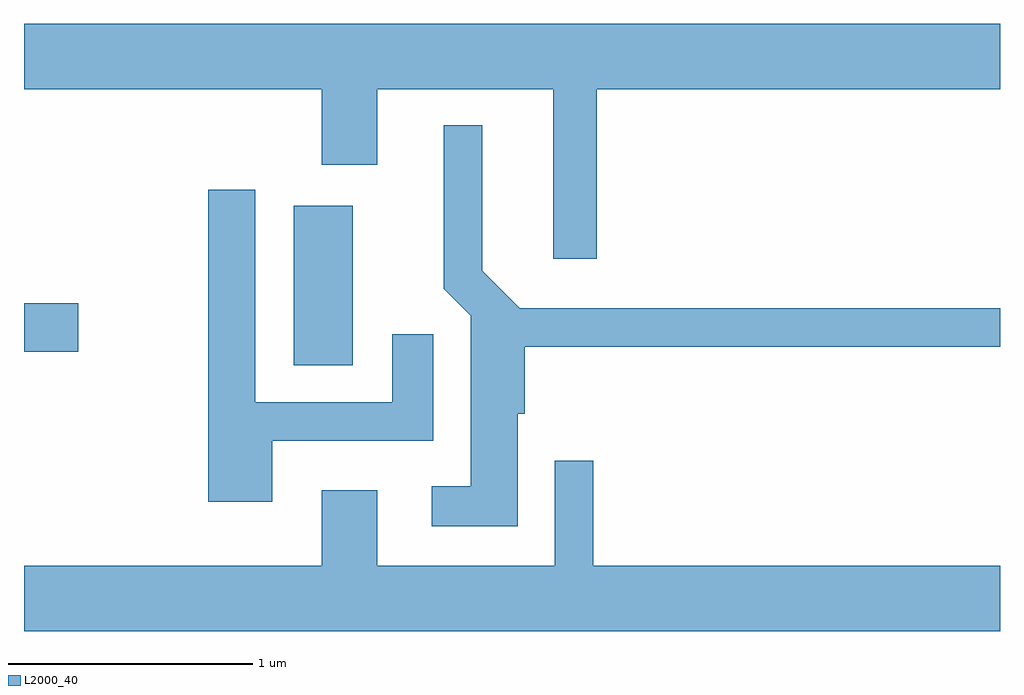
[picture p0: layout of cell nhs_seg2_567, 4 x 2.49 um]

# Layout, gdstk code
import gdstk
lib = gdstk.Library(unit=1e-6, precision=1e-09)
def R(c, l, rs):  # rectangles x0, y0, x1, y1
    for r in rs: c.add(gdstk.rectangle(r[:2], r[2:], *l))
def P(c, l, *ps):  # polygons
    for p in ps: c.add(gdstk.Polygon(p, *l))
L2000_40 = (2000, 40)

nhs_seg2_567 = lib.new_cell('nhs_seg2_567')
R(nhs_seg2_567, L2000_40, [(202.716,1024.986,202.959,1025.639), (201.611,1025.041,201.834,1025.239)])
P(nhs_seg2_567, L2000_40, [(203.959,1026.116),(205.611,1026.116),(205.611,1026.384),(201.611,1026.384),(201.611,1026.116),(202.831,1026.116),(202.831,1025.806),(203.059,1025.806),(203.059,1026.116),(203.781,1026.116),(203.781,1025.421),(203.959,1025.421)],
  [(203.634,1024.786),(203.664,1024.786),(203.664,1025.061),(205.611,1025.061),(205.611,1025.219),(203.642,1025.219),(203.489,1025.372),(203.489,1025.968),(203.331,1025.968),(203.331,1025.299),(203.441,1025.189),(203.441,1024.489),(203.283,1024.489),(203.283,1024.326),(203.634,1024.326)],
  [(202.629,1024.676),(203.289,1024.676),(203.289,1025.113),(203.121,1025.113),(203.121,1024.834),(202.559,1024.834),(202.559,1025.704),(202.366,1025.704),(202.366,1024.426),(202.629,1024.426)],
  [(205.611,1024.164),(203.944,1024.164),(203.944,1024.593),(203.786,1024.593),(203.786,1024.164),(203.059,1024.164),(203.059,1024.474),(202.831,1024.474),(202.831,1024.164),(201.611,1024.164),(201.611,1023.896),(205.611,1023.896)])

lib.write_gds('nhs_seg2_567.gds')
